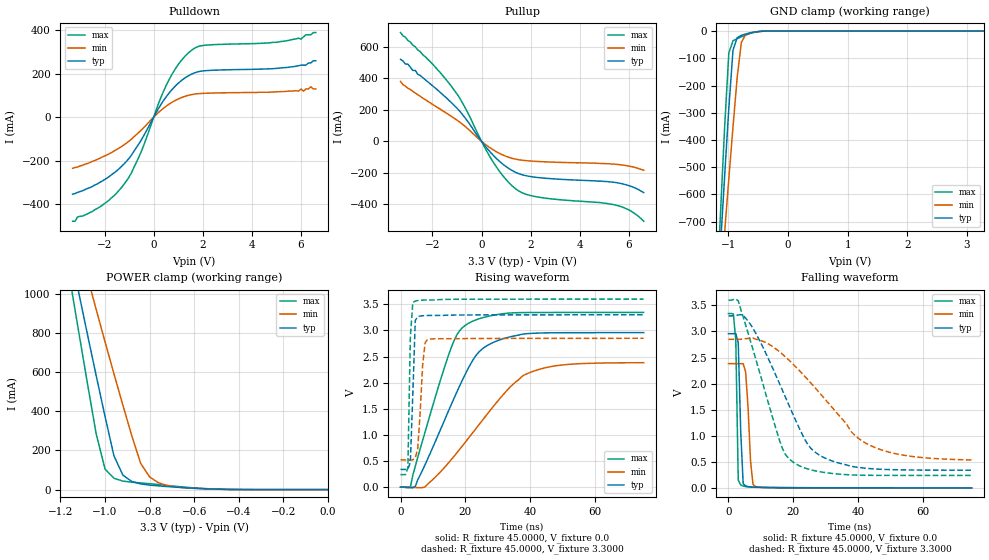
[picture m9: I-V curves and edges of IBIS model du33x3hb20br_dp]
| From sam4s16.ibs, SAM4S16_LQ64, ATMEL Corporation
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[Model] du33x3hb20br_dp
| config_pins "" "" dp
Model_type I/O
Polarity   Non-Inverting
Enable   Active-Low
Vinl =   0.8000V
Vinh =   1.3000V
Vmeas =  0.0V
C_comp   5.0000pF   5.0000pF   5.0000pF
[Temperature Range]   25.0000   0.1250k   -40.0000
[Voltage Range]   3.3000V   2.8500V   3.6000V
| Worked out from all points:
|   slope of the pulldown table from 0 to 0.495 V, typ, clamps not added: 5.41 ohm
|   slope of the pullup table from 0 to 0.495 V, typ, clamps not added: 5.41 ohm
|   GND clamp passes 1 mA (typ) near -0.45 V on its own axis
|   POWER clamp passes 1 mA (typ) near -0.45 V on its own axis
|   rising waveform, R_fixture 45.0000, V_fixture 0.0: 20-80 % time 13ns typ, 18.7ns min, 9.91ns max; typ from 0 V to 2.96 V
|   rising waveform, R_fixture 45.0000, V_fixture 3.3000: 20-80 % time 995ps typ, 1.33ns min, 656ps max; typ from 0.338 V to 3.3 V
|   falling waveform, R_fixture 45.0000, V_fixture 0.0: 20-80 % time 947ps typ, 1.23ns min, 570ps max; typ from 2.96 V to 0 V
|   falling waveform, R_fixture 45.0000, V_fixture 3.3000: 20-80 % time 13ns typ, 19.5ns min, 9.51ns max; typ from 3.3 V to 0.339 V
[Pulldown]
|Voltage   I(typ)   I(min)   I(max)
-3.3V     -355mA     -236mA     -480mA
-1.9V     -281mA     -174mA     -390mA
-1.1V     -202.6mA   -119mA     -292.5mA
-500mV    -104.5mA   -59.15mA   -157.3mA
200mV     40.63mA    22.04mA    63.48mA
600mV     107.3mA    57.97mA    166.7mA
1V        156.3mA    83.77mA    242.4mA
1.5V      195.9mA    103mA      304.4mA
2.1V      214.2mA    110.2mA    331.7mA
6V        240mA      130mA      360mA
6.1V      240mA      120mA      370mA
6.6V      260mA      130mA      390mA
[Pullup]
|Voltage   I(typ)   I(min)   I(max)
-3.3V     520mA      380mA      690mA
-2V       353mA      235mA      491mA
-1.2V     241mA      155mA      343mA
-700mV    154.5mA    98.65mA    221.9mA
100mV     -20.4mA    -12.64mA   -30.19mA
500mV     -92.37mA   -56.28mA   -137.8mA
1V        -160.5mA   -95.08mA   -242.9mA
1.4V      -197.4mA   -113.4mA   -302.6mA
2.4V      -231.1mA   -128.5mA   -355.9mA
5.4V      -260mA     -144mA     -402mA
6V        -281mA     -157mA     -435mA
6.6V      -325mA     -183mA     -507mA
[GND_clamp]
|Voltage   I(typ)   I(min)   I(max)
-3.3V     -9.401A    -7.643A    -11.32A
-1.2V     -1.053A    -1.144A    -998.2mA
-1.13V    -790.4mA   -940.1mA   -671.5mA
-1.06V    -532.9mA   -739mA     -353.3mA
-990mV    -283.9mA   -542.6mA   -80.5mA
-920mV    -70.09mA   -352.5mA   -35.61mA
-850mV    -24.48mA   -170.5mA   -27.74mA
-780mV    -15.66mA   -41.83mA   -21.24mA
-710mV    -10.91mA   -13.6mA    -14.98mA
-640mV    -7.092mA   -6.604mA   -9.548mA
-430mV    -607.2uA   -840.4uA   -553.5uA
3.28V     936.9pA    963.8uA    6.548nA
[POWER_clamp]
|Voltage   I(typ)   I(min)   I(max)
-3.28V    13.67A     11.1A      16.5A
-1.16V    1.237A     1.431A     1.091A
-1.12V    1.016A     1.259A     817.9mA
-1.08V    797.8mA    1.089A     548.7mA
-1.04V    583.3mA    920.5mA    286mA
-1V       373.5mA    754.3mA    104.8mA
-960mV    172.2mA    591mA      57.8mA
-920mV    74.03mA    431mA      43.45mA
-840mV    29.02mA    133.4mA    34.11mA
-800mV    23.04mA    64.64mA    30.08mA
-640mV    9.352mA    9.201mA    12.31mA
0V        1.037nA    19.81nA    67.68nA
[Ramp]
| variable   typ   min   max
dV/dt_r  1.7748/12.8220n   1.4292/18.5060n   2.0070/9.8060n
dV/dt_f  1.7767/12.8619n   1.3887/20.0347n   2.0170/9.4153n
R_load = 45.0000
[Rising Waveform]
R_fixture= 45.0000
V_fixture= 0.0
V_fixture_min= 0.0
V_fixture_max= 0.0
|time   V(typ)   V(min)   V(max)
0s        0V         0V         0V
3.03ns    -12.03mV   918.3nV    -2.458mV
4.55ns    11.81mV    -9.332mV   397.9mV
7.58ns    429.5mV    3.997mV    1.056V
15.15ns   1.51V      489.9mV    2.587V
17.42ns   1.827V     660.6mV    2.92V
20.45ns   2.223V     897.3mV    3.118V
26.52ns   2.703V     1.379V     3.263V
39.39ns   2.94V      2.181V     3.344V
75ns      2.958V     2.382V     3.345V
[Rising Waveform]
R_fixture= 45.0000
V_fixture= 3.3000
V_fixture_min= 2.8500
V_fixture_max= 3.6000
|time   V(typ)   V(min)   V(max)
0s        338.4mV    521.5mV    238.4mV
2.27ns    344mV      521.5mV    368.6mV
3.03ns    477.1mV    521.5mV    2.875V
3.79ns    1.774V     521.4mV    3.538V
4.55ns    3.19V      561.6mV    3.562V
5.3ns     3.264V     730.1mV    3.573V
6.82ns    3.282V     2.336V     3.581V
7.58ns    3.285V     2.763V     3.583V
8.33ns    3.287V     2.828V     3.584V
75ns      3.3V       2.85V      3.6V
[Falling Waveform]
R_fixture= 45.0000
V_fixture= 0.0
V_fixture_min= 0.0
V_fixture_max= 0.0
|time   V(typ)   V(min)   V(max)
0s        2.958V     2.384V     3.345V
1.52ns    2.958V     2.384V     3.338V
2.27ns    2.961V     2.384V     2.822V
3.03ns    2.775V     2.384V     147.8mV
3.79ns    1.076V     2.384V     53.99mV
4.55ns    79.71mV    2.382V     34.17mV
5.3ns     37.77mV    2.226V     24.22mV
6.82ns    16.85mV    510.8mV    15.66mV
8.33ns    10.92mV    26.82mV    14.07mV
75ns      13.85uV    153.4uV    4.808uV
[Falling Waveform]
R_fixture= 45.0000
V_fixture= 3.3000
V_fixture_min= 2.8500
V_fixture_max= 3.6000
|time   V(typ)   V(min)   V(max)
0s        3.3V       2.85V      3.6V
3.03ns    3.316V     2.85V      3.589V
6.82ns    3.134V     2.87V      2.813V
15.91ns   1.978V     2.603V     884.9mV
19.7ns    1.439V     2.388V     505.6mV
24.24ns   855.3mV    2.093V     367.2mV
27.27ns   660mV      1.882V     320.1mV
42.42ns   375.6mV    855.2mV    241.8mV
54.55ns   344.2mV    621.1mV    238.7mV
75ns      338.8mV    535.5mV    238.4mV
